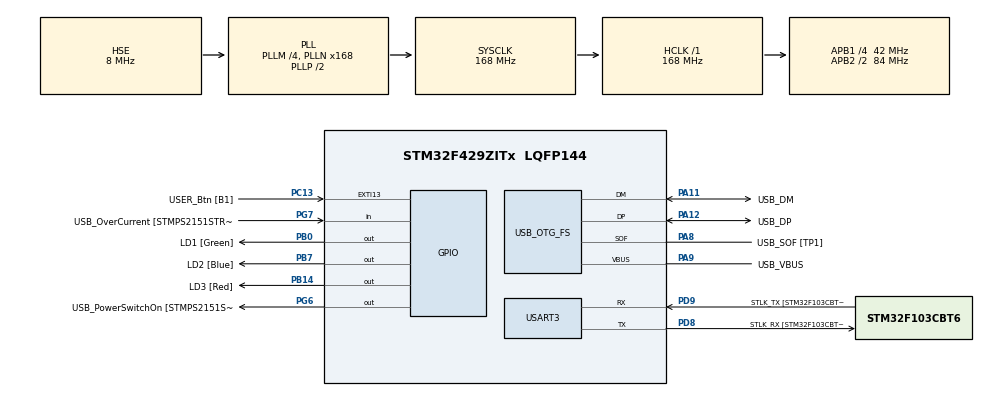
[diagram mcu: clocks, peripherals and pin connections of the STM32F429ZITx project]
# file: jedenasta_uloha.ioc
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Mcu.Family=STM32F4
Mcu.Name=STM32F429ZITx
Mcu.Package=LQFP144
NVIC.EXTI15_10_IRQn=true\:0\:0\:false\:false\:true\:true\:true\:true
NVIC.OTG_FS_IRQn=true\:0\:0\:false\:false\:true\:false\:true\:true
NVIC.PriorityGroup=NVIC_PRIORITYGROUP_4
PA1.GPIO_Label=RMII_REF_CLK [LAN8742A-CZ-TR_REFCLK0]
PA1.Signal=ETH_REF_CLK
PA10.GPIO_Label=USB_ID
PA10.Signal=USB_OTG_FS_ID
PA11.GPIO_Label=USB_DM
PA11.Mode=Device_Only
PA11.Signal=USB_OTG_FS_DM
PA12.GPIO_Label=USB_DP
PA12.Mode=Device_Only
PA12.Signal=USB_OTG_FS_DP
PA13.GPIO_Label=TMS
PA13.Mode=Serial_Wire
PA13.Signal=SYS_JTMS-SWDIO
PA14.GPIO_Label=TCK
PA14.Mode=Serial_Wire
PA14.Signal=SYS_JTCK-SWCLK
PA2.GPIO_Label=RMII_MDIO [LAN8742A-CZ-TR_MDIO]
PA2.Signal=ETH_MDIO
PA7.GPIO_Label=RMII_CRS_DV [LAN8742A-CZ-TR_CRS_DV]
PA7.Signal=ETH_CRS_DV
PA8.GPIO_Label=USB_SOF [TP1]
PA8.Mode=Activate_SOF_FS
PA8.Signal=USB_OTG_FS_SOF
PA9.GPIO_Label=USB_VBUS
PA9.Mode=Activate_VBUS
PA9.Signal=USB_OTG_FS_VBUS
PB0.GPIO_Label=LD1 [Green]
PB0.Signal=GPIO_Output
PB13.GPIO_Label=RMII_TXD1 [LAN8742A-CZ-TR_TXD1]
PB13.Signal=ETH_TXD1
PB14.GPIO_Label=LD3 [Red]
PB14.Signal=GPIO_Output
PB7.GPIO_Label=LD2 [Blue]
PB7.Signal=GPIO_Output
PC1.GPIO_Label=RMII_MDC [LAN8742A-CZ-TR_MDC]
PC1.Signal=ETH_MDC
PC13.GPIO_Label=USER_Btn [B1]
PC13.Signal=GPXTI13
PC14/OSC32_IN.Mode=LSE-External-Oscillator
PC14/OSC32_IN.Signal=RCC_OSC32_IN
PC15/OSC32_OUT.Mode=LSE-External-Oscillator
PC15/OSC32_OUT.Signal=RCC_OSC32_OUT
PC4.GPIO_Label=RMII_RXD0 [LAN8742A-CZ-TR_RXD0]
PC4.Signal=ETH_RXD0
PC5.GPIO_Label=RMII_RXD1 [LAN8742A-CZ-TR_RXD1]
PC5.Signal=ETH_RXD1
PD8.GPIO_Label=STLK_RX [STM32F103CBT6_PA3]
PD8.Mode=Asynchronous
PD8.Signal=USART3_TX
PD9.GPIO_Label=STLK_TX [STM32F103CBT6_PA2]
PD9.Mode=Asynchronous
PD9.Signal=USART3_RX
PG11.GPIO_Label=RMII_TX_EN [LAN8742A-CZ-TR_TXEN]
PG11.Signal=ETH_TX_EN
PG13.GPIO_Label=RMII_TXD0 [LAN8742A-CZ-TR_TXD0]
PG13.Signal=ETH_TXD0
PG6.GPIO_Label=USB_PowerSwitchOn [STMPS2151STR_EN]
PG6.Signal=GPIO_Output
PG7.GPIO_Label=USB_OverCurrent [STMPS2151STR_FAULT]
PG7.Signal=GPIO_Input
PH0/OSC_IN.GPIO_Label=MCO [STM32F103CBT6_PA8]
PH0/OSC_IN.Mode=HSE-External-Clock-Source
PH0/OSC_IN.Signal=RCC_OSC_IN
PH1/OSC_OUT.Mode=HSE-External-Clock-Source
PH1/OSC_OUT.Signal=RCC_OSC_OUT
ProjectManager.HeapSize=0x200
ProjectManager.StackSize=0x400
ProjectManager.TargetToolchain=STM32CubeIDE
RCC.48MHZClocksFreq_Value=48000000
RCC.AHBFreq_Value=168000000
RCC.APB1CLKDivider=RCC_HCLK_DIV4
RCC.APB1Freq_Value=42000000
RCC.APB1TimFreq_Value=84000000
RCC.APB2CLKDivider=RCC_HCLK_DIV2
RCC.APB2Freq_Value=84000000
RCC.APB2TimCLKDivider=2
RCC.APB2TimFreq_Value=168000000
RCC.CortexFreq_Value=168000000
RCC.HCLKFreq_Value=168000000
RCC.HSE_VALUE=8000000
RCC.HSI_VALUE=16000000
RCC.PLLM=4
RCC.PLLMUL=RCC_PLL_MUL9
RCC.PLLN=168
RCC.PLLQ=7
RCC.PRESCALERUSB=RCC_USBCLKSOURCE_PLL_DIV1_5
RCC.SYSCLKFreq_VALUE=168000000
RCC.SYSCLKSource=RCC_SYSCLKSOURCE_PLLCLK
RCC.SYSCLKSourceVirtual=RCC_SYSCLKSOURCE_PLLCLK
RCC.USBFreq_Value=48000000
RCC.VCOOutputFreq_Value=336000000
USART3.VirtualMode=VM_ASYNC
USB_DEVICE.CLASS_NAME_FS=HID
USB_DEVICE.VirtualMode-HID_FS=Hid
USB_DEVICE.VirtualModeFS=Hid_FS
USB_OTG_FS.VirtualMode=Device_Only
VP_USB_DEVICE_VS_USB_DEVICE_HID_FS.Mode=HID_FS
board=NUCLEO-F429ZI

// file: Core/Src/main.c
/* USER CODE BEGIN Header */
/**
  ******************************************************************************
  * @file           : main.c
  * @brief          : Main program body
  ******************************************************************************
  * @attention
  *
  * Copyright (c) 2023 STMicroelectronics.
  * All rights reserved.
  *
  * This software is licensed under terms that can be found in the LICENSE file
  * in the root directory of this software component.
  * If no LICENSE file comes with this software, it is provided AS-IS.
  *
  ******************************************************************************
  */
/* USER CODE END Header */
#include "main.h"
#include "usb_device.h"

/* USER CODE BEGIN Includes */
#include "usbd_hid.h"
#include <math.h>
/* USER CODE END Includes */

UART_HandleTypeDef huart3;

/* USER CODE BEGIN PV */
extern USBD_HandleTypeDef hUsbDeviceFS;
/* USER CODE END PV */

void SystemClock_Config(void);
static void MX_GPIO_Init(void);
static void MX_USART3_UART_Init(void);

/* USER CODE BEGIN 0 */

static volatile uint8_t draw_face_requested = 0;

void step(int8_t x, int8_t y, uint8_t btn)
{
	uint8_t buff[4];
	buff[0] = btn; // leve tlacitko (0x01 alebo 0x00)
	buff[1] = (int8_t) (x); // posun X
	buff[2] = (int8_t) (y); // posun Y
	buff[3] = 0; // bez scrollu
	USBD_HID_SendReport(&hUsbDeviceFS, buff, sizeof(buff));
	HAL_Delay(USBD_HID_GetPollingInterval(&hUsbDeviceFS));
}

void circle(uint16_t radius)
{
    const static float full_circle = 2 * M_PI;
    const static uint8_t no_of_segments = 100;
    float delta_angle = full_circle / no_of_segments;
    int8_t prev_x = radius * cosf(0);
    int8_t prev_y = radius * sinf(0);
    // press the button
    step(0,0,1);
    for (uint8_t i = 1; i <= no_of_segments+1; i++)
    {
    	float angle = delta_angle * i;
    	int8_t x = radius * cosf(angle);
    	int8_t y = radius * sinf(angle);
    	int8_t delta_x = x - prev_x;
    	int8_t delta_y = y - prev_y;
    	step(delta_x, delta_y, 1);
    	//HAL_Delay(1);
    	prev_x = x;
    	prev_y = y;
    }
    // depress the button
    step(0,0,0);

}

// parameter part shall be from 0 to 1
void draw_part_circle(uint16_t radius, float part)
{
    const float full_circle = 2 * M_PI * part;
    const uint8_t no_of_segments = 100;
    float delta_angle = full_circle / no_of_segments;
    int8_t prev_x = radius * cosf(0);
    int8_t prev_y = radius * sinf(0);
    // press the mouse button
    step(0,0,1);
    for (uint8_t i = 1; i <= no_of_segments+1; i++)
    {
    	float angle = delta_angle * i;
    	int8_t x = radius * cosf(angle);
    	int8_t y = radius * sinf(angle);
    	int8_t delta_x = x - prev_x;
    	int8_t delta_y = y - prev_y;
    	step(delta_x, delta_y, 1);
    	HAL_Delay(1);
    	prev_x = x;
    	prev_y = y;
    }
    // release the mouse button
    step(0,0,0);
}

void happy_face()
{
	uint16_t diameter = 100;
	// draw main circle
	circle(diameter);
	// move left and draw left eye
	step(0, -diameter/8, 0);
	HAL_Delay(10); // 2 moves with delay are needed, otherwise cursor ends up too far away
	step(0, -diameter/8, 0);
	step(-diameter/4 * 3, 0, 0);
	circle(diameter/10);

	// move right and draw right eye
	step(diameter/4 * 2.5f, 0, 0);
	circle(diameter/10);

	 // draw smile
	step(-diameter/8, diameter/3, 0);
	draw_part_circle(diameter/2, 0.5f);

	// draw nose
    step(diameter/5, -diameter/7, 0);
    // circle(diameter/10); <- circle nose
    // draw line
    step(0,0,1);
    step(0, -diameter/7, 1);
    step(0,0,0);
    draw_face_requested = 0;
}

/* USER CODE END 0 */

int main(void)
{

  /* MCU Configuration--------------------------------------------------------*/

  /* Reset of all peripherals, Initializes the Flash interface and the Systick. */
  HAL_Init();

  /* Configure the system clock */
  SystemClock_Config();

  /* Initialize all configured peripherals */
  MX_GPIO_Init();
  MX_USART3_UART_Init();
  MX_USB_DEVICE_Init();

  /* Infinite loop */
  while (1)
  {

    /* USER CODE BEGIN 3 */
	  // wait till this flag is set by Interrupt from User Button
	  if (draw_face_requested)
	  {
		  happy_face();
	  }
  }
  /* USER CODE END 3 */
}

void SystemClock_Config(void)
{
  RCC_OscInitTypeDef RCC_OscInitStruct = {0};
  RCC_ClkInitTypeDef RCC_ClkInitStruct = {0};

  /** Configure the main internal regulator output voltage
  */
  __HAL_RCC_PWR_CLK_ENABLE();
  __HAL_PWR_VOLTAGESCALING_CONFIG(PWR_REGULATOR_VOLTAGE_SCALE1);

  /** Initializes the RCC Oscillators according to the specified parameters
  * in the RCC_OscInitTypeDef structure.
  */
  RCC_OscInitStruct.OscillatorType = RCC_OSCILLATORTYPE_HSE;
  RCC_OscInitStruct.HSEState = RCC_HSE_BYPASS;
  RCC_OscInitStruct.PLL.PLLState = RCC_PLL_ON;
  RCC_OscInitStruct.PLL.PLLSource = RCC_PLLSOURCE_HSE;
  RCC_OscInitStruct.PLL.PLLM = 4;
  RCC_OscInitStruct.PLL.PLLN = 168;
  RCC_OscInitStruct.PLL.PLLP = RCC_PLLP_DIV2;
  RCC_OscInitStruct.PLL.PLLQ = 7;
  if (HAL_RCC_OscConfig(&RCC_OscInitStruct) != HAL_OK)
  {
    Error_Handler();
  }

  /** Initializes the CPU, AHB and APB buses clocks
  */
  RCC_ClkInitStruct.ClockType = RCC_CLOCKTYPE_HCLK|RCC_CLOCKTYPE_SYSCLK
                              |RCC_CLOCKTYPE_PCLK1|RCC_CLOCKTYPE_PCLK2;
  RCC_ClkInitStruct.SYSCLKSource = RCC_SYSCLKSOURCE_PLLCLK;
  RCC_ClkInitStruct.AHBCLKDivider = RCC_SYSCLK_DIV1;
  RCC_ClkInitStruct.APB1CLKDivider = RCC_HCLK_DIV4;
  RCC_ClkInitStruct.APB2CLKDivider = RCC_HCLK_DIV2;

  if (HAL_RCC_ClockConfig(&RCC_ClkInitStruct, FLASH_LATENCY_5) != HAL_OK)
  {
    Error_Handler();
  }
}

static void MX_USART3_UART_Init(void)
{

  huart3.Instance = USART3;
  huart3.Init.BaudRate = 115200;
  huart3.Init.WordLength = UART_WORDLENGTH_8B;
  huart3.Init.StopBits = UART_STOPBITS_1;
  huart3.Init.Parity = UART_PARITY_NONE;
  huart3.Init.Mode = UART_MODE_TX_RX;
  huart3.Init.HwFlowCtl = UART_HWCONTROL_NONE;
  huart3.Init.OverSampling = UART_OVERSAMPLING_16;
  if (HAL_UART_Init(&huart3) != HAL_OK)
  {
    Error_Handler();
  }

}

static void MX_GPIO_Init(void)
{
  GPIO_InitTypeDef GPIO_InitStruct = {0};

  /* GPIO Ports Clock Enable */
  __HAL_RCC_GPIOC_CLK_ENABLE();
  __HAL_RCC_GPIOH_CLK_ENABLE();
  __HAL_RCC_GPIOA_CLK_ENABLE();
  __HAL_RCC_GPIOB_CLK_ENABLE();
  __HAL_RCC_GPIOD_CLK_ENABLE();
  __HAL_RCC_GPIOG_CLK_ENABLE();

  /*Configure GPIO pin Output Level */
  HAL_GPIO_WritePin(GPIOB, LD1_Pin|LD3_Pin|LD2_Pin, GPIO_PIN_RESET);

  /*Configure GPIO pin Output Level */
  HAL_GPIO_WritePin(USB_PowerSwitchOn_GPIO_Port, USB_PowerSwitchOn_Pin, GPIO_PIN_RESET);

  /*Configure GPIO pin : USER_Btn_Pin */
  GPIO_InitStruct.Pin = USER_Btn_Pin;
  GPIO_InitStruct.Mode = GPIO_MODE_IT_RISING;
  GPIO_InitStruct.Pull = GPIO_NOPULL;
  HAL_GPIO_Init(USER_Btn_GPIO_Port, &GPIO_InitStruct);

  /*Configure GPIO pins : RMII_MDC_Pin RMII_RXD0_Pin RMII_RXD1_Pin */
  GPIO_InitStruct.Pin = RMII_MDC_Pin|RMII_RXD0_Pin|RMII_RXD1_Pin;
  GPIO_InitStruct.Mode = GPIO_MODE_AF_PP;
  GPIO_InitStruct.Pull = GPIO_NOPULL;
  GPIO_InitStruct.Speed = GPIO_SPEED_FREQ_VERY_HIGH;
  GPIO_InitStruct.Alternate = GPIO_AF11_ETH;
  HAL_GPIO_Init(GPIOC, &GPIO_InitStruct);

  /*Configure GPIO pins : RMII_REF_CLK_Pin RMII_MDIO_Pin RMII_CRS_DV_Pin */
  GPIO_InitStruct.Pin = RMII_REF_CLK_Pin|RMII_MDIO_Pin|RMII_CRS_DV_Pin;
  GPIO_InitStruct.Mode = GPIO_MODE_AF_PP;
  GPIO_InitStruct.Pull = GPIO_NOPULL;
  GPIO_InitStruct.Speed = GPIO_SPEED_FREQ_VERY_HIGH;
  GPIO_InitStruct.Alternate = GPIO_AF11_ETH;
  HAL_GPIO_Init(GPIOA, &GPIO_InitStruct);

  /*Configure GPIO pins : LD1_Pin LD3_Pin LD2_Pin */
  GPIO_InitStruct.Pin = LD1_Pin|LD3_Pin|LD2_Pin;
  GPIO_InitStruct.Mode = GPIO_MODE_OUTPUT_PP;
  GPIO_InitStruct.Pull = GPIO_NOPULL;
  GPIO_InitStruct.Speed = GPIO_SPEED_FREQ_LOW;
  HAL_GPIO_Init(GPIOB, &GPIO_InitStruct);

  /*Configure GPIO pin : RMII_TXD1_Pin */
  GPIO_InitStruct.Pin = RMII_TXD1_Pin;
  GPIO_InitStruct.Mode = GPIO_MODE_AF_PP;
  GPIO_InitStruct.Pull = GPIO_NOPULL;
  GPIO_InitStruct.Speed = GPIO_SPEED_FREQ_VERY_HIGH;
  GPIO_InitStruct.Alternate = GPIO_AF11_ETH;
  HAL_GPIO_Init(RMII_TXD1_GPIO_Port, &GPIO_InitStruct);

  /*Configure GPIO pin : USB_PowerSwitchOn_Pin */
  GPIO_InitStruct.Pin = USB_PowerSwitchOn_Pin;
  GPIO_InitStruct.Mode = GPIO_MODE_OUTPUT_PP;
  GPIO_InitStruct.Pull = GPIO_NOPULL;
  GPIO_InitStruct.Speed = GPIO_SPEED_FREQ_LOW;
  HAL_GPIO_Init(USB_PowerSwitchOn_GPIO_Port, &GPIO_InitStruct);

  /*Configure GPIO pin : USB_OverCurrent_Pin */
  GPIO_InitStruct.Pin = USB_OverCurrent_Pin;
  GPIO_InitStruct.Mode = GPIO_MODE_INPUT;
  GPIO_InitStruct.Pull = GPIO_NOPULL;
  HAL_GPIO_Init(USB_OverCurrent_GPIO_Port, &GPIO_InitStruct);

  /*Configure GPIO pins : RMII_TX_EN_Pin RMII_TXD0_Pin */
  GPIO_InitStruct.Pin = RMII_TX_EN_Pin|RMII_TXD0_Pin;
  GPIO_InitStruct.Mode = GPIO_MODE_AF_PP;
  GPIO_InitStruct.Pull = GPIO_NOPULL;
  GPIO_InitStruct.Speed = GPIO_SPEED_FREQ_VERY_HIGH;
  GPIO_InitStruct.Alternate = GPIO_AF11_ETH;
  HAL_GPIO_Init(GPIOG, &GPIO_InitStruct);

  /* EXTI interrupt init*/
  HAL_NVIC_SetPriority(EXTI15_10_IRQn, 0, 0);
  HAL_NVIC_EnableIRQ(EXTI15_10_IRQn);

}

/* USER CODE BEGIN 4 */
// Button Callback
#define BUTTON_COOLDOWN 200

void HAL_GPIO_EXTI_Callback(uint16_t GPIO_Pin)
{
	static uint32_t last_button_tick = 0;
    if(GPIO_Pin == GPIO_PIN_13) // If The INT Source Is EXTI Line9 (A9 Pin)
    {
    	if (HAL_GetTick() < last_button_tick + BUTTON_COOLDOWN){
    		return;
    	}
    	last_button_tick = HAL_GetTick();
    	HAL_GPIO_TogglePin(LD1_GPIO_Port, LD1_Pin); // Toggle The Output (LED) Pin
    	draw_face_requested = 1;
    }
}
/* USER CODE END 4 */

void Error_Handler(void)
{
  __disable_irq();
  while (1)
  {
  }
}
